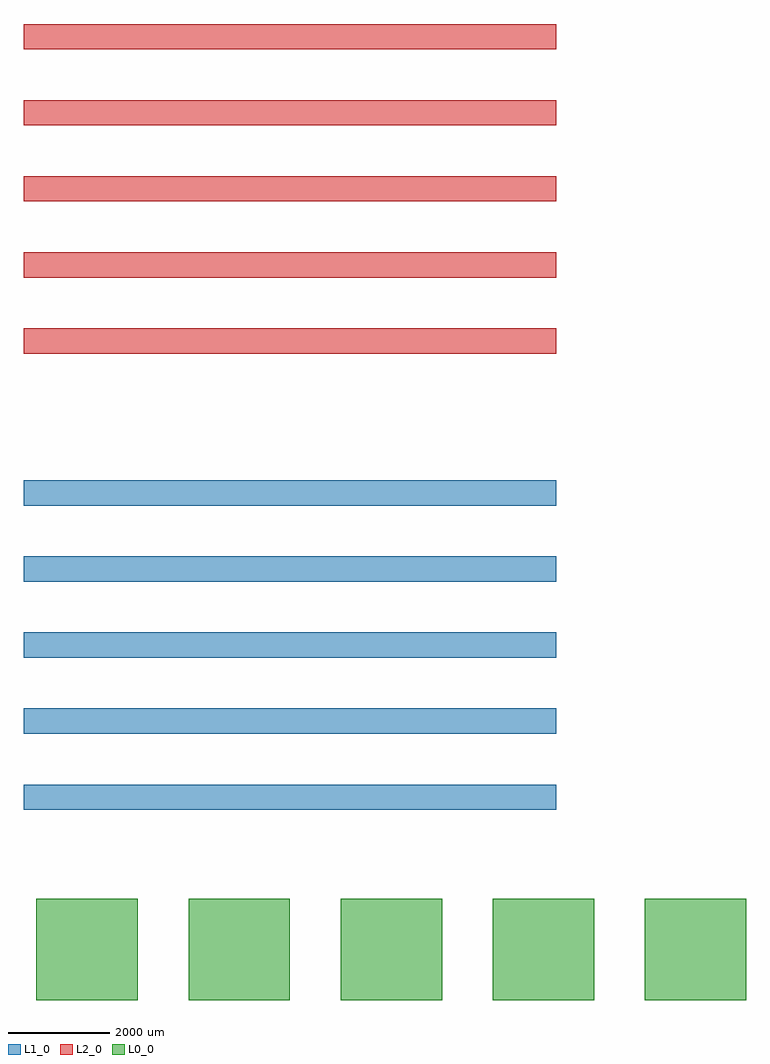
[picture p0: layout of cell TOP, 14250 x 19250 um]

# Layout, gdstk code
import gdstk
lib = gdstk.Library(unit=1e-6, precision=1e-09)
def R(c, l, rs):  # rectangles x0, y0, x1, y1
    for r in rs: c.add(gdstk.rectangle(r[:2], r[2:], *l))
def A(c, l, x, y, w, h, nx, ny, dx, dy):  # array of equal rectangles
    R(c, l, [(x+i*dx, y+j*dy, x+i*dx+w, y+j*dy+h) for i in range(nx) for j in range(ny)])
L0_0 = (0, 0)
L1_0 = (1, 0)
L2_0 = (2, 0)

top = lib.new_cell('TOP')
A(top, L0_0, 0, 0, 2000, 2000, 5, 1, 3000, 0)
top.add(gdstk.FlexPath([(0,4000),(10000,4000)], 500, ends="round", simple_path=True, layer=1, datatype=0))  # L1_0
top.add(gdstk.FlexPath([(0,5500),(10000,5500)], 500, ends="round", simple_path=True, layer=1, datatype=0))  # L1_0
top.add(gdstk.FlexPath([(0,7000),(10000,7000)], 500, ends="round", simple_path=True, layer=1, datatype=0))  # L1_0
top.add(gdstk.FlexPath([(0,8500),(10000,8500)], 500, ends="round", simple_path=True, layer=1, datatype=0))  # L1_0
top.add(gdstk.FlexPath([(0,10000),(10000,10000)], 500, ends="round", simple_path=True, layer=1, datatype=0))  # L1_0
top.add(gdstk.FlexPath([(0,13000),(10000,13000)], 500, ends="extended", simple_path=True, layer=2, datatype=0))  # L2_0
top.add(gdstk.FlexPath([(0,14500),(10000,14500)], 500, ends="extended", simple_path=True, layer=2, datatype=0))  # L2_0
top.add(gdstk.FlexPath([(0,16000),(10000,16000)], 500, ends="extended", simple_path=True, layer=2, datatype=0))  # L2_0
top.add(gdstk.FlexPath([(0,17500),(10000,17500)], 500, ends="extended", simple_path=True, layer=2, datatype=0))  # L2_0
top.add(gdstk.FlexPath([(0,19000),(10000,19000)], 500, ends="extended", simple_path=True, layer=2, datatype=0))  # L2_0

lib.write_gds('TOP.gds')
